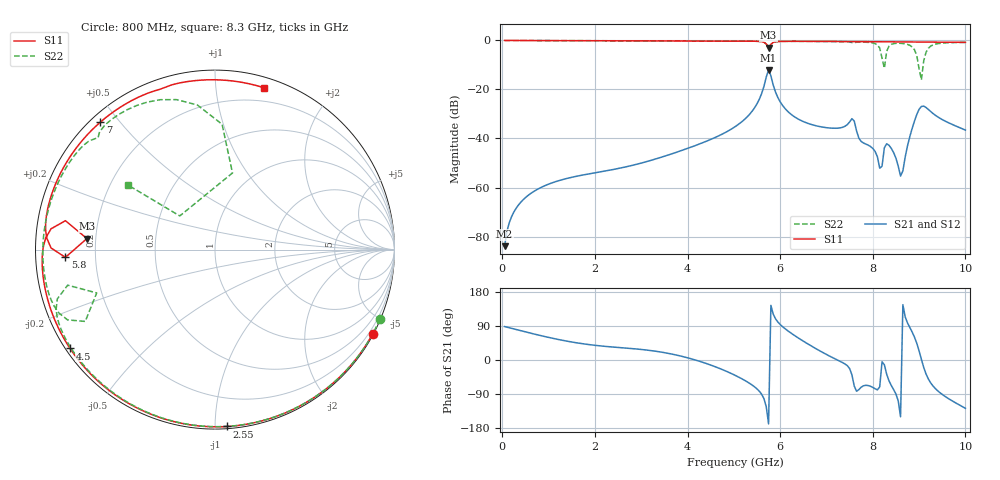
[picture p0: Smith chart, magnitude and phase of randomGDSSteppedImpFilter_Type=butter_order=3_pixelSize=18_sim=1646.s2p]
! freq	dB(S11)	phase(S11)	dB(S12)	phase(S12)
!  dB(S21)	phase(S21)	dB(S22)	phase(S22)
!S-par simulation data
#  GHz  S  DB  R 50
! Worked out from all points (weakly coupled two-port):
!   200 points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, 50 MHz to 10 GHz, reference 50 ohm
!   highest |S21| = -12.01 dB at 5.75 GHz (marker M1); lowest = -83.9 dB at 50 MHz (marker M2)
!   lowest |S11| = -2.9 dB at 5.75 GHz (marker M3), VSWR 6.05, Z = 8.28 + j2.09 ohm
!   |S11| at or under -10 dB: nowhere
!   |S22| runs from -16.1 to 0.0 dB; largest |S21 - S12| = 0
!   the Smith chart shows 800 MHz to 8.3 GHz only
!   S11 on the Smith chart (normalised r, x): 800 MHz: 0.04, -4.00; 2.55 GHz: 0.01, -1.07; 4.5 GHz: 0.01, -0.31; 5.8 GHz: 0.09, -0.03; 7 GHz: 0.03, +0.45; 8.3 GHz: 0.08, +1.35
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0.05  -0.00 -1.8  -83.93 88.2  -83.93 88.2  -0.00 -1.4
0.8  -0.04 -28.1  -60.32 65.2  -60.32 65.2  -0.03 -22.9
1.75  -0.08 -60.3  -54.86 42.6  -54.86 42.6  -0.06 -49.5
2.55  -0.11 -86.1  -52.06 32.6  -52.06 32.6  -0.09 -71.4
3.4  -0.14 -112.4  -47.84 21.5  -47.84 21.5  -0.12 -94.3
4.5  -0.20 -145.7  -40.39 -13.3  -40.39 -13.3  -0.18 -124.1
5.05  -0.24 -162.9  -34.90 -41.8  -34.90 -41.8  -0.22 -139.7
5.75  -2.90 175.1  -12.01 -168.6  -12.01 -168.6  -3.07 -159.9
5.8  -1.57 -177.0  -14.45 144.1  -14.45 144.1  -1.66 -151.0
6.1  -0.36 166.6  -27.65 83.1  -27.65 83.1  -0.36 -166.8
6.7  -0.37 143.7  -34.43 35.0  -34.43 35.0  -0.39 171.9
7  -0.40 131.9  -35.59 14.6  -35.59 14.6  -0.43 160.8
7.55  -0.50 108.9  -31.92 -39.2  -31.92 -39.2  -0.83 137.0
8.05  -0.49 85.6  -45.27 -75.8  -45.27 -75.8  -1.28 104.4
8.2  -0.51 78.2  -51.32 -4.8  -51.32 -4.8  -7.17 77.1
8.3  -0.52 73.1  -42.15 -37.5  -42.15 -37.5  -4.42 143.4
8.35  -0.53 70.6  -42.75 -54.9  -42.75 -54.9  -2.32 131.5
8.6  -0.56 57.5  -55.33 -149.8  -55.33 -149.8  -1.17 98.9
8.9  -0.60 41.4  -32.91 60.5  -32.91 60.5  -3.80 58.7
9.05  -0.61 33.2  -26.92 1.7  -26.92 1.7  -16.05 113.8
9.25  -0.62 21.9  -29.00 -60.3  -29.00 -60.3  -2.32 107.3
10  -0.78 -20.4  -36.57 -127.5  -36.57 -127.5  -0.80 48.0
